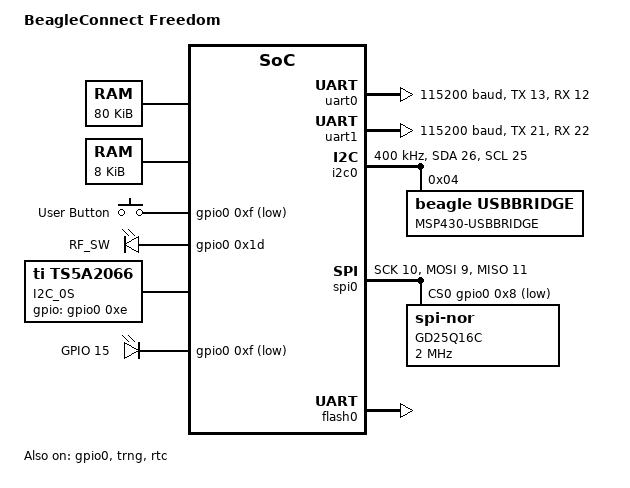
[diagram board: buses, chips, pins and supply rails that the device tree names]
/dts-v1/;

/ {
	#address-cells = < 0x1 >;
	#size-cells = < 0x1 >;
	model = "BeagleConnect Freedom";
	compatible = "beagle,beagleconnect-freedom";
	chosen {
		zephyr,entropy = &trng;
		zephyr,sram = &sram0;
		zephyr,console = &uart1;
		zephyr,shell-uart = &uart1;
		zephyr,flash = &flash0;
	};
	aliases {
		sw0 = &user_button_0;
		sensor0 = &light;
		sensor1 = &accel;
		sensor2 = &humidity;
		gpio15 = &gpio_hdlc;
	};
	soc {
		#address-cells = < 0x1 >;
		#size-cells = < 0x1 >;
		compatible = "simple-bus";
		interrupt-parent = < &nvic >;
		ranges;
		nvic: interrupt-controller@e000e100 {
			#address-cells = < 0x1 >;
			compatible = "arm,v7m-nvic";
			reg = < 0xe000e100 0xc00 >;
			interrupt-controller;
			#interrupt-cells = < 0x2 >;
			arm,num-irq-priority-bits = < 0x3 >;
			phandle = < 0x1 >;
		};
		systick: timer@e000e010 {
			compatible = "arm,armv7m-systick";
			reg = < 0xe000e010 0x10 >;
			status = "disabled";
		};
		pinmux: pinmux@40081000 {
			compatible = "ti,cc13xx-cc26xx-pinmux";
			reg = < 0x40081000 0x1000 >;
		};
		gpio0: gpio@40022000 {
			compatible = "ti,cc13xx-cc26xx-gpio";
			reg = < 0x40022000 0x400 >;
			interrupts = < 0x0 0x0 >;
			status = "okay";
			label = "GPIO_0";
			gpio-controller;
			#gpio-cells = < 0x2 >;
			phandle = < 0x3 >;
		};
		trng: random@40028000 {
			compatible = "ti,cc13xx-cc26xx-trng";
			reg = < 0x40028000 0x2000 >;
			interrupts = < 0x21 0x0 >;
			status = "okay";
			label = "TRNG";
		};
		uart0: uart@40001000 {
			compatible = "ti,cc13xx-cc26xx-uart";
			reg = < 0x40001000 0x1000 >;
			interrupts = < 0x5 0x0 >;
			clocks = < &sysclk >;
			status = "okay";
			label = "UART_0";
			current-speed = < 0x1c200 >;
			tx-pin = < 0xd 0x10 >;
			rx-pin = < 0xc 0xf >;
		};
		uart1: uart@4000b000 {
			compatible = "ti,cc13xx-cc26xx-uart";
			reg = < 0x4000b000 0x1000 >;
			interrupts = < 0x24 0x0 >;
			clocks = < &sysclk >;
			status = "okay";
			label = "UART_1";
			current-speed = < 0x1c200 >;
			tx-pin = < 0x15 0x14 >;
			rx-pin = < 0x16 0x13 >;
		};
		i2c0: i2c@40002000 {
			compatible = "ti,cc13xx-cc26xx-i2c";
			#address-cells = < 0x1 >;
			#size-cells = < 0x0 >;
			reg = < 0x40002000 0x1000 >;
			interrupts = < 0x1 0x0 >;
			clock-frequency = < 0x61a80 >;
			status = "okay";
			label = "I2C_0";
			scl-pin = < 0x19 >;
			sda-pin = < 0x1a >;
			phandle = < 0x4 >;
			mcu: msp430-usbbridge@4 {
				compatible = "beagle,usbbridge";
				reg = < 0x4 >;
				label = "MSP430-USBBRIDGE";
			};
		};
		spi0: spi@40000000 {
			compatible = "ti,cc13xx-cc26xx-spi";
			#address-cells = < 0x1 >;
			#size-cells = < 0x0 >;
			reg = < 0x40000000 0x1000 >;
			interrupts = < 0x7 0x0 >;
			status = "okay";
			label = "SPI_0";
			sck-pin = < 0xa >;
			mosi-pin = < 0x9 >;
			miso-pin = < 0xb >;
			cs-gpios = < &gpio0 0x8 0x1 >, < &gpio0 0x1c 0x1 >, < &gpio0 0x1b 0x1 >;
			nor_flash: gd25q16c@0 {
				compatible = "jedec,spi-nor";
				label = "GD25Q16C";
				reg = < 0x0 >;
				spi-max-frequency = < 0x1e8480 >;
				size = < 0x200000 >;
				has-dpd;
				t-enter-dpd = < 0x4e20 >;
				t-exit-dpd = < 0x186a0 >;
				jedec-id = [ C8 40 15 ];
			};
		};
		spi1: spi@40008000 {
			compatible = "ti,cc13xx-cc26xx-spi";
			#address-cells = < 0x1 >;
			#size-cells = < 0x0 >;
			reg = < 0x40008000 0x1000 >;
			interrupts = < 0x8 0x0 >;
			status = "disabled";
			label = "SPI_1";
		};
		rtc: rtc@40092000 {
			compatible = "ti,cc13xx-cc26xx-rtc";
			reg = < 0x40092000 0x1000 >;
			interrupts = < 0x4 0x0 >;
			status = "okay";
			label = "RTC";
		};
	};
	cpus {
		#address-cells = < 0x1 >;
		#size-cells = < 0x0 >;
		cpu0: cpu@0 {
			device_type = "cpu";
			compatible = "arm,cortex-m4";
			reg = < 0x0 >;
			clock-frequency = < 0x2dc6c00 >;
		};
	};
	sram0: memory@20000000 {
		compatible = "mmio-sram";
		reg = < 0x20000000 0x14000 >;
	};
	sram1: memory@11000000 {
		compatible = "mmio-sram";
		reg = < 0x11000000 0x2000 >;
	};
	flash0: serial-flash@0 {
		compatible = "serial-flash";
		reg = < 0x0 0x58000 >;
		partitions {
			compatible = "fixed-partitions";
			#address-cells = < 0x1 >;
			#size-cells = < 0x1 >;
			ti_ccfg_partition: partition@57fa8 {
				label = "ti_ccfg";
				reg = < 0x57fa8 0x58 >;
			};
		};
	};
	sysclk: system-clock {
		compatible = "fixed-clock";
		clock-frequency = < 0x2dc6c00 >;
		#clock-cells = < 0x0 >;
		phandle = < 0x2 >;
	};
	gpio_keys {
		compatible = "gpio-keys";
		user_button_0: button_0 {
			label = "User Button";
			gpios = < &gpio0 0xf 0x1 >;
		};
	};
	gpio_leds {
		compatible = "gpio-leds";
		rf_sw: rf_sw {
			label = "RF_SW";
			gpios = < &gpio0 0x1d 0x0 >, < &gpio0 0x1e 0x0 >, < &gpio0 0x12 0x0 >;
		};
	};
	sens_i2c: sensor-switch {
		compatible = "ti,ts5a2066";
		#address-cells = < 0x1 >;
		#size-cells = < 0x0 >;
		controller = < &i2c0 >;
		gpios = < &gpio0 0xe 0x0 >;
		label = "I2C_0S";
		accel: lis2dh12-accel@18 {
			compatible = "st,lis2dh12", "st,lis2dh", "st,lis2de12";
			reg = < 0x18 >;
			label = "LIS2DE12-ACCEL";
		};
		light: opt3001-light@44 {
			compatible = "ti,opt3001";
			reg = < 0x44 >;
			label = "OPT3001-LIGHT";
		};
		humidity: hdc2010-humidity@41 {
			compatible = "ti,hdc2010";
			reg = < 0x41 >;
			label = "HDC2010-HUMIDITY";
		};
	};
	leds {
		compatible = "gpio-leds";
		gpio_hdlc: gpio_15 {
			label = "GPIO 15";
			gpios = < &gpio0 0xf 0x1 >;
		};
	};
};
